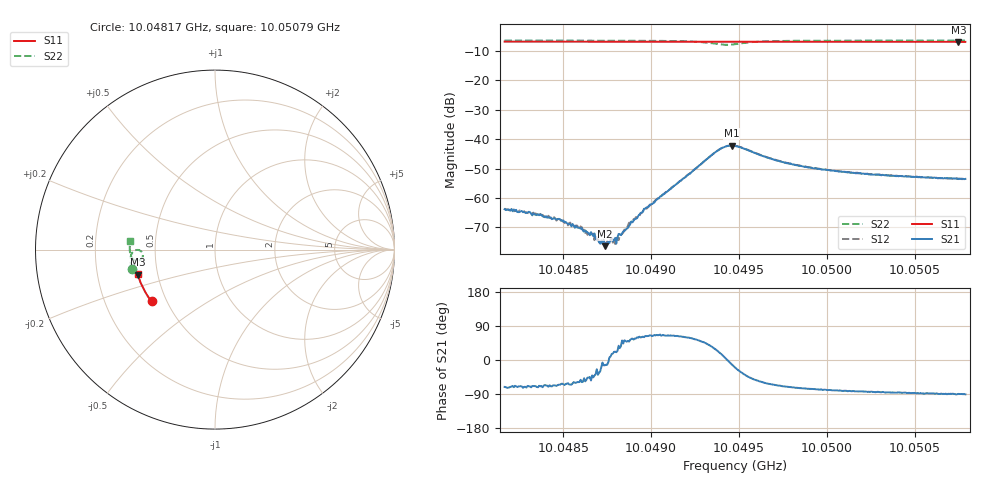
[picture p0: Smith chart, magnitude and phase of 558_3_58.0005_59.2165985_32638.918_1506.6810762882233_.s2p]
#  HZ  S  RI  R  50.00
! Rohde & Schwarz Vector Network Analyzer
! Rohde-Schwarz,ZNB20-2Port,1311601062101988,3.16
! Created: UTC 3/21/2024, 1:15:18 AM
! freq[Hz]  re:S11  im:S11  re:S21  im:S21  re:S12  im:S12  re:S22  im:S22
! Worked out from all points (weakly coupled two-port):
!   401 points, 10.04817 GHz to 10.05079 GHz, reference 50 ohm
!   highest |S21| = -42.17 dB at 10.04946 GHz (marker M1); lowest = -76.4 dB at 10.04874 GHz (marker M2)
!   lowest |S11| = -6.9 dB at 10.05075 GHz (marker M3), VSWR 2.65, Z = 19.3 - j6.73 ohm
!   |S11| at or under -10 dB: nowhere
!   |S22| runs from -7.9 to -6.4 dB; largest |S21 - S12| = 0.00055
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1.0048166e10  -0.3537 -0.2889  0.000209 -0.000609  0.000261 -0.000605  -0.4651 -0.1079
1.0048382e10  -0.3622 -0.2774  0.000153 -0.000464  0.00021 -0.00047  -0.4679 -0.0927
1.0048487e10  -0.3663 -0.2717  0.000186 -0.00037  0.000183 -0.000378  -0.4689 -0.0851
1.0048605e10  -0.3707 -0.2654  0.00016 -0.00026  0.000217 -0.000232  -0.47 -0.0761
1.0048625e10  -0.3714 -0.2642  0.000156 -0.000233  0.000175 -0.000183  -0.4702 -0.0746
1.0048658e10  -0.3727 -0.2624  0.000154 -0.000212  0.000217 -0.000128  -0.4702 -0.0719
1.0048697e10  -0.374 -0.2603  0.000152 -0.000123  0.000168 -0.000106  -0.4706 -0.0687
1.0048736e10  -0.3755 -0.2581  0.000147 -3.66e-05  0.000168 1.71e-05  -0.4707 -0.0656
1.0048795e10  -0.3775 -0.2548  0.000194 7.86e-05  0.000152 6.2e-05  -0.4708 -0.0607
1.0048809e10  -0.3781 -0.2541  0.000196 8.93e-05  0.000181 0.000106  -0.4709 -0.0597
1.0048887e10  -0.3808 -0.2496  0.000225 0.000329  0.000192 0.000335  -0.4709 -0.0526
1.0048966e10  -0.3834 -0.2452  0.000297 0.000586  0.000248 0.000582  -0.4703 -0.045
1.0049045e10  -0.3861 -0.2407  0.000405 0.0009  0.000358 0.000922  -0.469 -0.0368
1.0049366e10  -0.3958 -0.2221  0.00529 0.00284  0.00509 0.00317  -0.4205 -0.00397
1.0049412e10  -0.3971 -0.2194  0.00716 0.00128  0.00709 0.00174  -0.4048 -0.0191
1.0049458e10  -0.3984 -0.2171  0.00764 -0.0015  0.00777 -0.00097  -0.4041 -0.0433
1.0049477e10  -0.3988 -0.2161  0.00724 -0.00259  0.00742 -0.00208  -0.4093 -0.052
1.0049707e10  -0.4061 -0.2029  0.0018 -0.00403  0.00205 -0.00397  -0.4643 -0.0438
1.0049917e10  -0.4118 -0.1902  0.000756 -0.00316  0.000914 -0.00315  -0.473 -0.02
1.0050356e10  -0.4224 -0.1634  0.000183 -0.0024  0.000357 -0.00239  -0.4755 0.0169
1.005075e10  -0.4303 -0.139  2.02e-05 -0.00209  0.00012 -0.00213  -0.4738 0.0452
1.0050789e10  -0.4312 -0.1365  -1.86e-05 -0.00211  7.21e-05 -0.00208  -0.4736 0.0479
